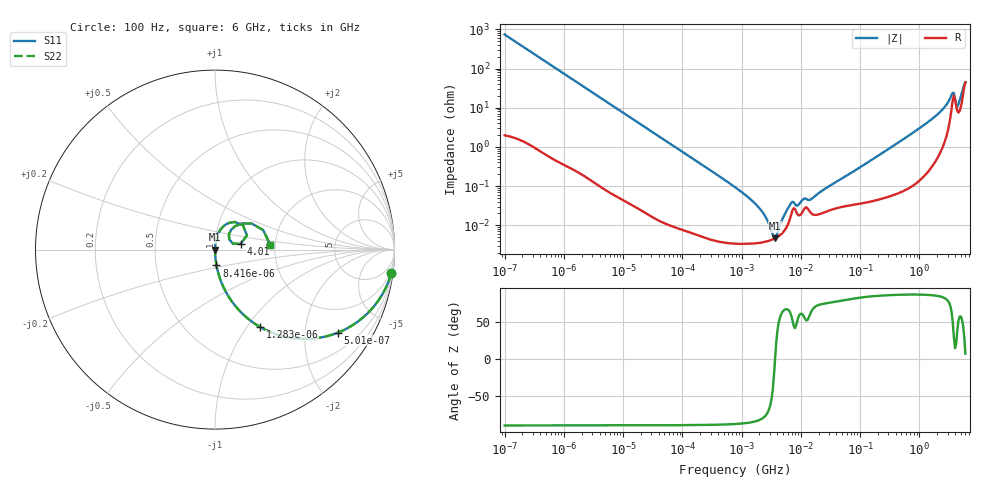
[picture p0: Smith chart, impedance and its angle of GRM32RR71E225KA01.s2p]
!Murata Part Number: GRM32RR71E225KA01
!These Parameters are Measured in Series Mode Connection
!Data Generated on Mar 30, 2021
!  o--ll--o
!Port1  Port2
!  o------o
!Operation Temp=25[degC], DC Bias Voltage=0[V]
!Freq. Start=100[Hz] Stop=6[GHz] 401[Steps]
# Hz S RI R 50
!Freq.(Hz) S11(Real) S11(Imag) S21(Real) S21(Imag) S12(Real) S12(Imag) S22(Real) S22(Imag)
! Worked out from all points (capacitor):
!   401 points, 100 Hz to 6 GHz, reference 50 ohm
!   read as one part in series: C = 2.15 uF near 109 Hz
!   lowest |Z| = 4.71 mohm at 3.712 MHz (marker M1)
!   series resonance near 3.675 MHz, so ESL is about 870 pH
!   S11 on the Smith chart (normalised r, x): 100 Hz: 1, -15; 501 Hz: 1.01, -2.96; 1.283 kHz: 1.01, -1.16; 8.416 kHz: 1.00, -0.18; 4.01 GHz: 1.33, +0.09; 6 GHz: 1.88, +0.11
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100  0.9816 -0.1329  0.0184 0.1329  0.0184 0.1329  0.9816 -0.1329
245  0.9004 -0.2975  0.0996 0.2975  0.0996 0.2975  0.9004 -0.2975
501  0.6856 -0.4622  0.3144 0.4622  0.3144 0.4622  0.6856 -0.4622
1283  0.2523 -0.4318  0.7477 0.4318  0.7477 0.4318  0.2523 -0.4318
2008  0.1222 -0.3248  0.8778 0.3248  0.8778 0.3248  0.1222 -0.3248
8416  0.00833 -0.0881  0.9917 0.0881  0.9917 0.0881  0.00833 -0.0881
40335  0.000478 -0.0186  0.9995 0.0186  0.9995 0.0186  0.000478 -0.0186
774597  3.48e-05 -0.000939  1 0.000939  1 0.000939  3.48e-05 -0.000939
1813585  3.5e-05 -0.00032  1 0.00032  1 0.00032  3.5e-05 -0.00032
2967816  4.07e-05 -9.12e-05  1 9.12e-05  1 9.12e-05  4.07e-05 -9.12e-05
3712478  4.69e-05 4.4e-06  1 -4.4e-06  1 -4.4e-06  4.69e-05 4.4e-06
4440638  5.58e-05 8.38e-05  0.9999 -8.38e-05  0.9999 -8.38e-05  5.58e-05 8.38e-05
6948629  0.000199 0.00032  0.9998 -0.00032  0.9998 -0.00032  0.000199 0.00032
8692127  0.000196 0.000246  0.9998 -0.000246  0.9998 -0.000246  0.000196 0.000246
1.137099e7  0.00026 0.000401  0.9997 -0.000401  0.9997 -0.000401  0.00026 0.000401
1.555665e7  0.000194 0.000444  0.9998 -0.000444  0.9998 -0.000444  0.000194 0.000444
3.124326e8  0.000627 0.00913  0.9994 -0.00913  0.9994 -0.00913  0.000627 0.00913
1.791126e9  0.00706 0.0568  0.9929 -0.0568  0.9929 -0.0568  0.00706 0.0568
3.505958e9  0.1109 0.1541  0.8891 -0.1541  0.8891 -0.1541  0.1109 0.1541
4.009986e9  0.1431 0.0316  0.8569 -0.0316  0.8569 -0.0316  0.1431 0.0316
4.586474e9  0.0774 0.0833  0.9226 -0.0833  0.9226 -0.0833  0.0774 0.0833
6e9  0.3077 0.0274  0.6923 -0.0274  0.6923 -0.0274  0.3077 0.0274
